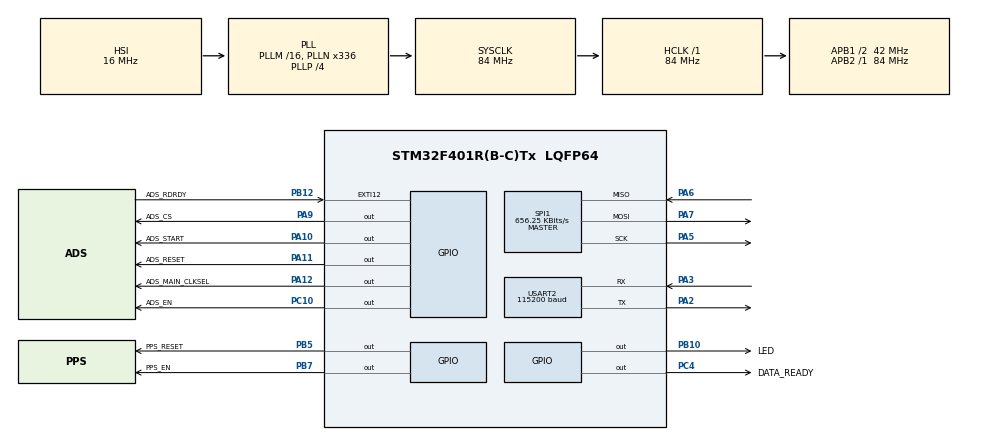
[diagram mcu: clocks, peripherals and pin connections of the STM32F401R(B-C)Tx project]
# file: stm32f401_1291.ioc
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Mcu.Family=STM32F4
Mcu.Name=STM32F401R(B-C)Tx
Mcu.Package=LQFP64
NVIC.EXTI15_10_IRQn=true\:0\:0\:false\:false\:true
NVIC.PriorityGroup=NVIC_PRIORITYGROUP_2
NVIC.TIM2_IRQn=true\:1\:0\:true\:false\:true
NVIC.TIM3_IRQn=true\:1\:0\:true\:false\:true
NVIC.USART2_IRQn=true\:2\:0\:true\:false\:true
PA10.GPIO_Label=ADS_START
PA10.Signal=GPIO_Output
PA11.GPIO_Label=ADS_RESET
PA11.Signal=GPIO_Output
PA12.GPIO_Label=ADS_MAIN_CLKSEL
PA12.Signal=GPIO_Output
PA2.Mode=Asynchronous
PA2.Signal=USART2_TX
PA3.Mode=Asynchronous
PA3.Signal=USART2_RX
PA5.Mode=Full_Duplex_Master
PA5.Signal=SPI1_SCK
PA6.Mode=Full_Duplex_Master
PA6.Signal=SPI1_MISO
PA7.Mode=Full_Duplex_Master
PA7.Signal=SPI1_MOSI
PA9.GPIO_Label=ADS_CS
PA9.PinState=GPIO_PIN_RESET
PA9.Signal=GPIO_Output
PB10.GPIO_Label=LED
PB10.Signal=GPIO_Output
PB12.GPIO_Label=ADS_RDRDY
PB12.GPIO_ModeDefaultEXTI=GPIO_MODE_IT_FALLING
PB12.Signal=GPXTI12
PB5.GPIO_Label=PPS_RESET
PB5.Signal=GPIO_Output
PB7.GPIO_Label=PPS_EN
PB7.Signal=GPIO_Output
PC10.GPIO_Label=ADS_EN
PC10.Signal=GPIO_Output
PC4.GPIO_Label=DATA_READY
PC4.Signal=GPIO_Output
ProjectManager.HeapSize=0x200
ProjectManager.StackSize=0x400
ProjectManager.TargetToolchain=MDK-ARM V5
RCC.48MHZClocksFreq_Value=84000000
RCC.AHBFreq_Value=84000000
RCC.APB1CLKDivider=RCC_HCLK_DIV2
RCC.APB1Freq_Value=42000000
RCC.APB1TimFreq_Value=84000000
RCC.APB2Freq_Value=84000000
RCC.APB2TimFreq_Value=84000000
RCC.CortexFreq_Value=84000000
RCC.HCLKFreq_Value=84000000
RCC.HSE_VALUE=25000000
RCC.HSI_VALUE=16000000
RCC.LSE_VALUE=32768
RCC.PLLN=336
RCC.PLLP=RCC_PLLP_DIV4
RCC.SYSCLKFreq_VALUE=84000000
RCC.SYSCLKSource=RCC_SYSCLKSOURCE_PLLCLK
RCC.VCOOutputFreq_Value=336000000
SPI1.BaudRatePrescaler=SPI_BAUDRATEPRESCALER_128
SPI1.CLKPhase=SPI_PHASE_2EDGE
SPI1.CalculateBaudRate=656.25 KBits/s
SPI1.Mode=SPI_MODE_MASTER
TIM2.Period=400-1
TIM2.Prescaler=8400-1
TIM3.Period=10000-1
TIM3.Prescaler=8400-1
USART2.BaudRate=115200
VP_TIM2_VS_ClockSourceINT.Mode=Internal
VP_TIM3_VS_ClockSourceINT.Mode=Internal
board=stm32f401_1291

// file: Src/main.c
/**
  ******************************************************************************
  * File Name          : main.c
  * Description        : Main program body
  ******************************************************************************
  *
  * COPYRIGHT(c) 2018 STMicroelectronics
  *
  * Redistribution and use in source and binary forms, with or without modification,
  * are permitted provided that the following conditions are met:
  *   1. Redistributions of source code must retain the above copyright notice,
  *      this list of conditions and the following disclaimer.
  *   2. Redistributions in binary form must reproduce the above copyright notice,
  *      this list of conditions and the following disclaimer in the documentation
  *      and/or other materials provided with the distribution.
  *   3. Neither the name of STMicroelectronics nor the names of its contributors
  *      may be used to endorse or promote products derived from this software
  *      without specific prior written permission.
  *
  * THIS SOFTWARE IS PROVIDED BY THE COPYRIGHT HOLDERS AND CONTRIBUTORS "AS IS"
  * AND ANY EXPRESS OR IMPLIED WARRANTIES, INCLUDING, BUT NOT LIMITED TO, THE
  * IMPLIED WARRANTIES OF MERCHANTABILITY AND FITNESS FOR A PARTICULAR PURPOSE ARE
  * DISCLAIMED. IN NO EVENT SHALL THE COPYRIGHT HOLDER OR CONTRIBUTORS BE LIABLE
  * FOR ANY DIRECT, INDIRECT, INCIDENTAL, SPECIAL, EXEMPLARY, OR CONSEQUENTIAL
  * DAMAGES (INCLUDING, BUT NOT LIMITED TO, PROCUREMENT OF SUBSTITUTE GOODS OR
  * SERVICES; LOSS OF USE, DATA, OR PROFITS; OR BUSINESS INTERRUPTION) HOWEVER
  * CAUSED AND ON ANY THEORY OF LIABILITY, WHETHER IN CONTRACT, STRICT LIABILITY,
  * OR TORT (INCLUDING NEGLIGENCE OR OTHERWISE) ARISING IN ANY WAY OUT OF THE USE
  * OF THIS SOFTWARE, EVEN IF ADVISED OF THE POSSIBILITY OF SUCH DAMAGE.
  *
  ******************************************************************************
  */
#include "main.h"
#include "stm32f4xx_hal.h"
#include "spi.h"
#include "tim.h"
#include "usart.h"
#include "gpio.h"

/* USER CODE BEGIN Includes */
#include "string.h"
#include "dwt_stm32_delay.h"

#include "ads1x9x_hal_driver.h"

#include "IIC.h"
#include "pps960.h"
#include "afe4404_hw.h"
#include "agc_V3_1_19.h"
#include "hqerror.h"
/* USER CODE END Includes */

/* USER CODE BEGIN PV */
/* Private variables ---------------------------------------------------------*/

/* USER CODE END PV */

void SystemClock_Config(void);
void Error_Handler(void);

/* USER CODE BEGIN PFP */
/* Private function prototypes -----------------------------------------------*/

/* USER CODE END PFP */

/* USER CODE BEGIN 0 */
uint8_t aRxBuffer[8] = {0};
uint8_t ADCData[165] = {0};

uint8_t mode1_tran_data[167] = {0};
uint8_t mode2_tran_data[17] = {0};
uint8_t mode3_tran_data[21] = {0};

uint8_t dataIsOk = 0;
uint8_t sensor_open = 0;
uint8_t sensor_is_init = 0;

extern uint8_t ads1291_is_init;
extern uint16_t acc_check;

uint16_t lifeQhrm = 0;
int8_t skin = 0;
uint8_t Fatigue = 0;

uint16_t HeartPack1 = 0;
uint16_t HeartPack2 = 0;
uint16_t HeartPack3 = 0;

uint8_t lifeQhrmMax = 85;
uint8_t FatigueMax = 80;
uint8_t AlarmType = 0;

uint8_t Alarm_status = 0;
uint8_t work_mode = 0;

void pps960_sensor_task(void);
void pps960_sensor_task2(void);
void sensor_switch(void);
/* USER CODE END 0 */

int main(void)
{

  /* MCU Configuration----------------------------------------------------------*/

  /* Reset of all peripherals, Initializes the Flash interface and the Systick. */
  HAL_Init();

  /* Configure the system clock */
  SystemClock_Config();

  /* Initialize all configured peripherals */
  MX_GPIO_Init();
  MX_USART2_UART_Init();
  MX_TIM2_Init();
  MX_TIM3_Init();
  MX_SPI1_Init();

  /* USER CODE BEGIN 2 */
	if(DWT_Delay_Init())
  {
    Error_Handler(); /* Call Error Handler */
  }
	HAL_UART_Receive_IT(&huart2, aRxBuffer, 8);
	I2C_GPIO_Config();
  /* USER CODE END 2 */

  /* Infinite loop */
  while (1)
  {

  /* USER CODE BEGIN 3 */
		sensor_switch();
		if(dataIsOk == 1 && work_mode == 1)
		{
			HAL_GPIO_WritePin(DATA_READY_GPIO_Port,DATA_READY_Pin,GPIO_PIN_SET);
			HAL_Delay(5);
			HAL_UART_Transmit(&huart2,mode1_tran_data,167,0xff);
			dataIsOk = 0;
			HAL_Delay(5);
			HAL_GPIO_WritePin(DATA_READY_GPIO_Port,DATA_READY_Pin,GPIO_PIN_RESET);
		}
		if(dataIsOk == 1 && work_mode == 2)
		{
		  HAL_GPIO_WritePin(DATA_READY_GPIO_Port,DATA_READY_Pin,GPIO_PIN_SET);
			HAL_Delay(5);
			HAL_UART_Transmit(&huart2,mode2_tran_data,17,0xff);
			dataIsOk = 0;
			HAL_Delay(5);
			HAL_GPIO_WritePin(DATA_READY_GPIO_Port,DATA_READY_Pin,GPIO_PIN_RESET);
		}
		if(Alarm_status == 1 && work_mode == 2)
		{
		  HAL_GPIO_WritePin(DATA_READY_GPIO_Port,DATA_READY_Pin,GPIO_PIN_SET);
			HAL_Delay(5);
			HAL_UART_Transmit(&huart2,mode3_tran_data,21,0xff);
			Alarm_status = 0;
			HAL_Delay(5);
			HAL_GPIO_WritePin(DATA_READY_GPIO_Port,DATA_READY_Pin,GPIO_PIN_RESET);
		}
  }
  /* USER CODE END 3 */

}

/** System Clock Configuration
*/
void SystemClock_Config(void)
{

  RCC_OscInitTypeDef RCC_OscInitStruct;
  RCC_ClkInitTypeDef RCC_ClkInitStruct;

    /**Configure the main internal regulator output voltage
    */
  __HAL_RCC_PWR_CLK_ENABLE();

  __HAL_PWR_VOLTAGESCALING_CONFIG(PWR_REGULATOR_VOLTAGE_SCALE2);

    /**Initializes the CPU, AHB and APB busses clocks
    */
  RCC_OscInitStruct.OscillatorType = RCC_OSCILLATORTYPE_HSI;
  RCC_OscInitStruct.HSIState = RCC_HSI_ON;
  RCC_OscInitStruct.HSICalibrationValue = 16;
  RCC_OscInitStruct.PLL.PLLState = RCC_PLL_ON;
  RCC_OscInitStruct.PLL.PLLSource = RCC_PLLSOURCE_HSI;
  RCC_OscInitStruct.PLL.PLLM = 16;
  RCC_OscInitStruct.PLL.PLLN = 336;
  RCC_OscInitStruct.PLL.PLLP = RCC_PLLP_DIV4;
  RCC_OscInitStruct.PLL.PLLQ = 4;
  if (HAL_RCC_OscConfig(&RCC_OscInitStruct) != HAL_OK)
  {
    Error_Handler();
  }

    /**Initializes the CPU, AHB and APB busses clocks
    */
  RCC_ClkInitStruct.ClockType = RCC_CLOCKTYPE_HCLK|RCC_CLOCKTYPE_SYSCLK
                              |RCC_CLOCKTYPE_PCLK1|RCC_CLOCKTYPE_PCLK2;
  RCC_ClkInitStruct.SYSCLKSource = RCC_SYSCLKSOURCE_PLLCLK;
  RCC_ClkInitStruct.AHBCLKDivider = RCC_SYSCLK_DIV1;
  RCC_ClkInitStruct.APB1CLKDivider = RCC_HCLK_DIV2;
  RCC_ClkInitStruct.APB2CLKDivider = RCC_HCLK_DIV1;

  if (HAL_RCC_ClockConfig(&RCC_ClkInitStruct, FLASH_LATENCY_2) != HAL_OK)
  {
    Error_Handler();
  }

    /**Configure the Systick interrupt time
    */
  HAL_SYSTICK_Config(HAL_RCC_GetHCLKFreq()/1000);

    /**Configure the Systick
    */
  HAL_SYSTICK_CLKSourceConfig(SYSTICK_CLKSOURCE_HCLK);

  /* SysTick_IRQn interrupt configuration */
  HAL_NVIC_SetPriority(SysTick_IRQn, 0, 0);
}

/* USER CODE BEGIN 4 */
void HAL_GPIO_EXTI_Callback(uint16_t GPIO_Pin)
{
	static uint8_t cnt = 0;
	static uint16_t TimeNum = 0;
	uint8_t Rx[6] = {0};
	uint32_t EEG_Data = 0;
	uint8_t LOFF_State = 0;
	uint8_t Data[3] = {0};
	if(ads1291_is_init == 1)
	{
		ADS_ReadData(Rx,6);

		EEG_Data = ((Rx[3]*0xFFFFFF)+(Rx[4]*0xFFFF)+Rx[5]*0xFF+0x80000000)>>8;
		Data[0] = EEG_Data >> 16;
		Data[1] = EEG_Data >> 8 % 0xFF;
		Data[2] = EEG_Data & 0xFE;

		memcpy((ADCData + cnt * 3),Data,3);
		cnt ++;

		if(cnt == 50)
		{
			LOFF_State = ((Rx[0]<<4) & 0x10) | ((Rx[1] & 0x80)>>4);
			cnt = 0;
			TimeNum ++;
			HeartPack1 ++;

			mode1_tran_data[0] = 0xBB;
			mode1_tran_data[1] = 0xBB;
			mode1_tran_data[2] = 0xBB;
			mode1_tran_data[3] = 0x00;
			mode1_tran_data[4] = 0x9F;
			mode1_tran_data[5] = HeartPack1 >> 8;
			mode1_tran_data[6] = HeartPack1 & 0xFF;
			mode1_tran_data[7] = 0x01;
			mode1_tran_data[8] = skin;
			mode1_tran_data[9] = lifeQhrm;
			mode1_tran_data[10] = 0x02;
			mode1_tran_data[11] = Fatigue;
			mode1_tran_data[12] = 0x03;
			mode1_tran_data[13] =  LOFF_State;

			memcpy(mode1_tran_data+14,ADCData,150);
			memset(ADCData,0,150);

			mode1_tran_data[164] = 0xFF;
			mode1_tran_data[165] = 0xFF;
			mode1_tran_data[166] = 0xFF;

			if(work_mode == 1)
			{
				dataIsOk = 1;
			}
		}
		if(TimeNum == 1500)
		{
			TimeNum = 0;
			HeartPack2 ++;

			mode2_tran_data[0] = 0xBB;
			mode2_tran_data[1] = 0xBB;
			mode2_tran_data[2] = 0xBB;
			mode2_tran_data[3] = 0x00;
			mode2_tran_data[4] = 0x09;
			mode2_tran_data[5] = HeartPack2 >> 8;
			mode2_tran_data[6] = HeartPack2 & 0xFF;
			mode2_tran_data[7] = 0x01;
			mode2_tran_data[8] = skin;
			mode2_tran_data[9] = lifeQhrm;
			mode2_tran_data[10] = 0x02;
			mode2_tran_data[11] = Fatigue;
			mode2_tran_data[12] = 0x03;
			mode2_tran_data[13] =  LOFF_State;
			mode2_tran_data[14] = 0xFF;
			mode2_tran_data[15] = 0xFF;
			mode2_tran_data[16] = 0xFF;
			if(work_mode == 2)
			{
				dataIsOk = 1;
			}
		}
		if(lifeQhrm > lifeQhrmMax || Fatigue > FatigueMax)
		{
			HeartPack3 ++;
			if(lifeQhrm > lifeQhrmMax)
			{
				AlarmType = 0x01;
			}
			if(Fatigue > FatigueMax)
			{
				AlarmType = 0x02;
			}

			mode3_tran_data[0] = 0xBB;
			mode3_tran_data[1] = 0xBB;
			mode3_tran_data[2] = 0xBB;
			mode3_tran_data[3] = 0x00;
			mode3_tran_data[4] = 0x0D;
			mode3_tran_data[5] = HeartPack3 >> 8;
			mode3_tran_data[6] = HeartPack3 & 0xFF;
			mode3_tran_data[7] = 0x00;
			mode3_tran_data[8] = AlarmType;
			mode3_tran_data[9] = lifeQhrmMax;
			mode3_tran_data[10] = FatigueMax;
			mode3_tran_data[11] = 0x01;
			mode3_tran_data[12] = skin;
			mode3_tran_data[13] = lifeQhrm;
			mode3_tran_data[14] = 0x02;
			mode3_tran_data[15] = Fatigue;
			mode3_tran_data[16] = 0x03;
			mode3_tran_data[17] = LOFF_State;
			mode3_tran_data[18] = 0xFF;
			mode3_tran_data[19] = 0xFF;
			mode3_tran_data[20] = 0xFF;

			Alarm_status = 1;
		}
	}
}
void HAL_TIM_PeriodElapsedCallback(TIM_HandleTypeDef *htim)
{
	if (htim->Instance == htim3.Instance)
	{
		// 获取心率数值
		pps960_sensor_task2();  //1s触发一次
	}
	if (htim->Instance == htim2.Instance)
	{
		// 获取心率原始数据
		pps960_sensor_task();  //40ms触发一次
	}
}

/**
  * @brief  Rx Transfer completed callbacks.
  * @param  huart pointer to a UART_HandleTypeDef structure that contains
  *                the configuration information for the specified UART module.
  * @retval None
  */
void HAL_UART_RxCpltCallback(UART_HandleTypeDef *huart)
{
	uint8_t AT_MODE0[8] = "AT+MODE0";
	uint8_t AT_MODE1[8] = "AT+MODE1";
	uint8_t AT_MODE2[8] = "AT+MODE2";
	if(huart->Instance == USART2)
	{
		HAL_UART_Receive_IT(&huart2,aRxBuffer,8);
		if (memcmp(AT_MODE0, aRxBuffer, 8) == 0)
		{
			  sensor_open = 0;
			  work_mode = 0;
				printf("OK+MODE0");
		}
		if (memcmp(AT_MODE1, aRxBuffer, 8) == 0)
		{
			  sensor_open = 1;
			  work_mode = 1;
				printf("OK+MODE1");
		}
		if (memcmp(AT_MODE2, aRxBuffer, 8) == 0)
		{
			  sensor_open = 1;
			  work_mode = 2;
				printf("OK+MODE2");
		}
	}
}
void sensor_switch(void)
{
		if(sensor_open == 1 && sensor_is_init == 0)
		{
			sensor_is_init = 1;
			//pps960初始化
			init_pps960_sensor();
			acc_check = 1;
			HAL_TIM_Base_Start_IT(&htim2);
			HAL_TIM_Base_Start_IT(&htim3);
			//1291初始化
			ads1291_init();
		}
		if(sensor_open == 0 && sensor_is_init == 1)
		{
			sensor_is_init = 0;
		  //1291去初始化
    	ads1291_disable();
			//pps960去初始化
			HAL_TIM_Base_Stop_IT(&htim2);
			HAL_TIM_Base_Stop_IT(&htim3);
			pps960_disable();
			acc_check = 0;
		}
}
/* USER CODE END 4 */

void Error_Handler(void)
{
  while(1)
  {
  }
}

/************************ (C) COPYRIGHT STMicroelectronics *****END OF FILE****/
